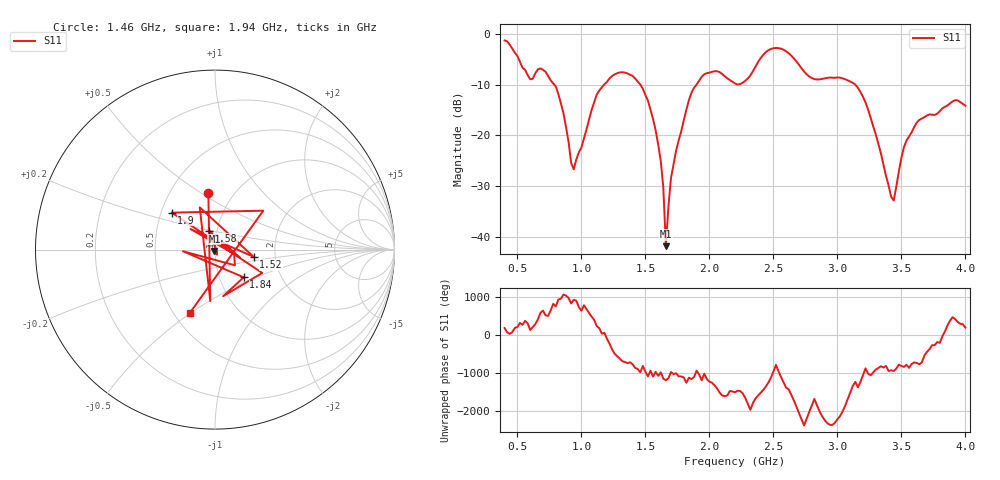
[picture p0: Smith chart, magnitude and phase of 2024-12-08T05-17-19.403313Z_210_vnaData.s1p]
!Created with skrf (http://scikit-rf.org).
# Hz S RI R 50.0
!freq ReS11 ImS11
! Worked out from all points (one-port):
!   181 points, 400 MHz to 4 GHz, reference 50 ohm
!   lowest |S11| = -41.8 dB at 1.66 GHz (marker M1), VSWR 1.02, Z = 49.7 - j0.741 ohm
!   |S11| at or under -10 dB: 787.9 MHz to 1.178 GHz (389.7 MHz wide, 39.6 % of centre); 1.461 GHz to 1.899 GHz (438.3 MHz wide, 26.1 % of centre); 3.14 GHz to end of sweep
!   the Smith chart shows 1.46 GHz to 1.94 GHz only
!   S11 on the Smith chart (normalised r, x): 1.46 GHz: 0.76, +0.54; 1.52 GHz: 1.54, -0.13; 1.58 GHz: 0.91, +0.20; 1.84 GHz: 1.30, -0.42; 1.9 GHz: 0.57, +0.26; 1.94 GHz: 0.60, -0.49
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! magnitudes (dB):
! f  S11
! 400 MHz  -1.3
! 600 MHz  -8.9
! 720 MHz  -7.5
! 860 MHz  -15.7
! 940 MHz  -26.7
! 1.12 GHz  -12.0
! 1.3 GHz  -7.6
! 1.46 GHz  -10.0
! 1.52 GHz  -13.2
! 1.58 GHz  -19.0
! 1.64 GHz  -30.3
! 1.66 GHz  -41.8
! 1.7 GHz  -28.4
! 1.76 GHz  -21.0
! 1.84 GHz  -13.1
! 1.9 GHz  -10.0
! 1.94 GHz  -8.4
! 2.2 GHz  -9.8
! 2.48 GHz  -3.0
! 2.66 GHz  -4.8
! 2.82 GHz  -8.9
! 3.1 GHz  -9.4
! 3.24 GHz  -14.9
! 3.44 GHz  -32.9
! 3.5 GHz  -24.4
! 3.56 GHz  -20.2
! 3.9 GHz  -13.3
! 4 GHz  -14.2
